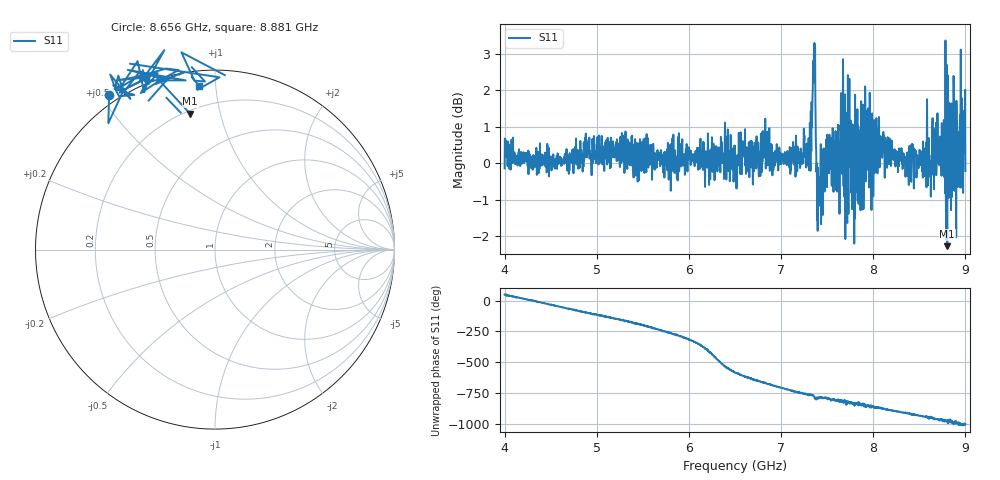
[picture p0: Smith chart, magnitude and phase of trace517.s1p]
! Created with skrf 1.8.0 (http://scikit-rf.org).
# Hz S RI R 50.0
!freq ReS11 ImS11
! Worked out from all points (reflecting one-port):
!   1601 points, 4 GHz to 9 GHz, reference 50 ohm
!   lowest |S11| = -2.3 dB at 8.803 GHz (marker M1), VSWR 7.68, Z = 10.9 + j40.5 ohm
!   phase of S11 starts at 49 deg and turns -1052 deg over the sweep
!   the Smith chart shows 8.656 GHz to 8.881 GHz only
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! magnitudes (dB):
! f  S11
! 4 GHz  -0.1
! 4.625 GHz  -0.1
! 5.25 GHz  -0.1
! 5.875 GHz  0.2
! 6.412 GHz  0.3
! 6.5 GHz  -0.4
! 6.806 GHz  0.2
! 7.125 GHz  0.3
! 7.294 GHz  -0.1
! 7.316 GHz  0.7
! 7.347 GHz  2.8
! 7.362 GHz  3.3
! 7.397 GHz  -1.9
! 7.409 GHz  -0.9
! 7.516 GHz  0.4
! 7.609 GHz  -0.8
! 7.669 GHz  0.8
! 7.709 GHz  -0.5
! 7.75 GHz  -0.1
! 7.784 GHz  0.2
! 7.928 GHz  0.9
! 7.981 GHz  -1.3
! 8.097 GHz  0.1
! 8.375 GHz  -0.3
! 8.803 GHz  -2.3
! 8.919 GHz  -0.4
! 8.972 GHz  0.4
! 9 GHz  -0.2
